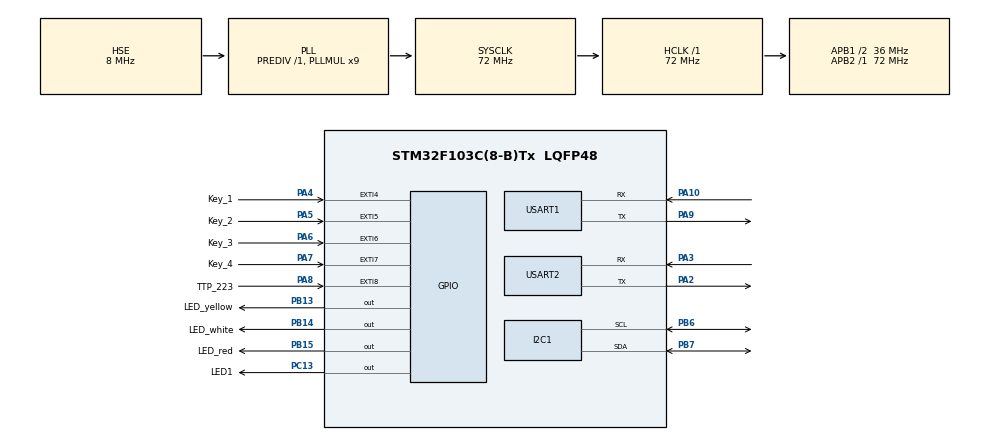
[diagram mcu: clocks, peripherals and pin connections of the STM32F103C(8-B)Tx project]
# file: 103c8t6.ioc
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I2C1.I2C_Mode=I2C_Fast
Mcu.Family=STM32F1
Mcu.Name=STM32F103C(8-B)Tx
Mcu.Package=LQFP48
NVIC.EXTI4_IRQn=true\:0\:0\:false\:false\:true\:true\:true\:true
NVIC.EXTI9_5_IRQn=true\:0\:0\:false\:false\:true\:true\:true\:true
NVIC.PriorityGroup=NVIC_PRIORITYGROUP_4
NVIC.TIM3_IRQn=true\:0\:0\:false\:false\:true\:true\:true\:true
NVIC.USART1_IRQn=true\:0\:0\:false\:false\:true\:true\:true\:true
NVIC.USART2_IRQn=true\:0\:0\:false\:false\:true\:true\:true\:true
PA10.Mode=Asynchronous
PA10.Signal=USART1_RX
PA13.Mode=Serial_Wire
PA13.Signal=SYS_JTMS-SWDIO
PA14.Mode=Serial_Wire
PA14.Signal=SYS_JTCK-SWCLK
PA2.Mode=Asynchronous
PA2.Signal=USART2_TX
PA3.Mode=Asynchronous
PA3.Signal=USART2_RX
PA4.GPIO_Label=Key_1
PA4.GPIO_PuPd=GPIO_PULLUP
PA4.Signal=GPXTI4
PA5.GPIO_Label=Key_2
PA5.GPIO_PuPd=GPIO_PULLUP
PA5.Signal=GPXTI5
PA6.GPIO_Label=Key_3
PA6.GPIO_PuPd=GPIO_PULLUP
PA6.Signal=GPXTI6
PA7.GPIO_Label=Key_4
PA7.GPIO_PuPd=GPIO_PULLUP
PA7.Signal=GPXTI7
PA8.GPIO_Label=TTP_223
PA8.Signal=GPXTI8
PA9.Mode=Asynchronous
PA9.Signal=USART1_TX
PB13.GPIO_Label=LED_yellow
PB13.GPIO_PuPd=GPIO_PULLUP
PB13.PinState=GPIO_PIN_SET
PB13.Signal=GPIO_Output
PB14.GPIO_Label=LED_white
PB14.GPIO_PuPd=GPIO_PULLUP
PB14.PinState=GPIO_PIN_SET
PB14.Signal=GPIO_Output
PB15.GPIO_Label=LED_red
PB15.GPIO_PuPd=GPIO_PULLUP
PB15.PinState=GPIO_PIN_SET
PB15.Signal=GPIO_Output
PB6.Mode=I2C
PB6.Signal=I2C1_SCL
PB7.Mode=I2C
PB7.Signal=I2C1_SDA
PC13-TAMPER-RTC.GPIO_Label=LED1
PC13-TAMPER-RTC.GPIO_PuPd=GPIO_PULLUP
PC13-TAMPER-RTC.PinState=GPIO_PIN_SET
PC13-TAMPER-RTC.Signal=GPIO_Output
PD0-OSC_IN.Mode=HSE-External-Oscillator
PD0-OSC_IN.Signal=RCC_OSC_IN
PD1-OSC_OUT.Mode=HSE-External-Oscillator
PD1-OSC_OUT.Signal=RCC_OSC_OUT
ProjectManager.HeapSize=0x200
ProjectManager.StackSize=0x400
ProjectManager.TargetToolchain=MDK-ARM V5.32
RCC.AHBFreq_Value=72000000
RCC.APB1CLKDivider=RCC_HCLK_DIV2
RCC.APB1Freq_Value=36000000
RCC.APB1TimFreq_Value=72000000
RCC.APB2Freq_Value=72000000
RCC.APB2TimFreq_Value=72000000
RCC.HCLKFreq_Value=72000000
RCC.PLLMUL=RCC_PLL_MUL9
RCC.PLLSourceVirtual=RCC_PLLSOURCE_HSE
RCC.SYSCLKFreq_VALUE=72000000
RCC.SYSCLKSource=RCC_SYSCLKSOURCE_PLLCLK
RCC.USBFreq_Value=72000000
TIM3.Period=5000-1
TIM3.Prescaler=7200-1
USART1.VirtualMode=VM_ASYNC
USART2.VirtualMode=VM_ASYNC
VP_TIM3_VS_ClockSourceINT.Mode=Internal
board=custom

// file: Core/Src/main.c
/* USER CODE BEGIN Header */
/**
  ******************************************************************************
  * @file           : main.c
  * @brief          : Main program body
  ******************************************************************************
  * @attention
  *
  * Copyright (c) 2024 STMicroelectronics.
  * All rights reserved.
  *
  * This software is licensed under terms that can be found in the LICENSE file
  * in the root directory of this software component.
  * If no LICENSE file comes with this software, it is provided AS-IS.
  *
  ******************************************************************************
  */
/* USER CODE END Header */
#include "main.h"
#include "i2c.h"
#include "tim.h"
#include "usart.h"
#include "gpio.h"

/* USER CODE BEGIN Includes */
#include "oled.h"
#include "string.h"
/* USER CODE END Includes */

void SystemClock_Config(void);
/* USER CODE BEGIN PFP */
int key_flag;

uint8_t data[2];

uint8_t RxBuff[1];      //进入中断接收数据的数组
uint8_t DataBuff[5000]; //保存接收到的数据的数组
int RxLine=0;           //接收到的数据长度
uint8_t trans[2] = {1,2};
/* USER CODE END PFP */

/* USER CODE BEGIN 0 */

void HAL_UART_RxCpltCallback(UART_HandleTypeDef *huart){
	if(data[0] == '0'){
		key_flag = 1;
	}
	if(data[0] == '1'){
		key_flag = 2;
	}
	if(data[0] == '2'){
		if(data[1] == '1'){
		key_flag = 3;
		}
		else if(data[1] == '2'){
		key_flag = 4;
		}
		else if(data[1] == '3'){
		key_flag = 5;
		}
	}
	if(data[0] == '3'){
		key_flag = 6;
	}
	HAL_UART_Receive_IT(&huart1,(uint8_t*)&data,sizeof(data));//打开下一次串口接收中断
}

void HAL_GPIO_EXTI_Callback(uint16_t GPIO_Pin){
	if(GPIO_Pin == Key_1_Pin){
		key_flag = 1;
		HAL_UART_Transmit_IT(&huart1,"1",sizeof("1"));
	}
	else if(GPIO_Pin == Key_2_Pin){

	}
	else if(GPIO_Pin == Key_3_Pin){
		HAL_UART_Transmit_IT(&huart1,"5",sizeof("5"));

	}
	else if(GPIO_Pin == Key_4_Pin){
	}
	else if(GPIO_Pin == TTP_223_Pin){
		HAL_UART_Transmit_IT(&huart1,"2",sizeof("2"));
	}
}
/* USER CODE END 0 */

int main(void)
{

  /* MCU Configuration--------------------------------------------------------*/

  /* Reset of all peripherals, Initializes the Flash interface and the Systick. */
  HAL_Init();

  /* Configure the system clock */
  SystemClock_Config();

  /* Initialize all configured peripherals */
  MX_GPIO_Init();
  MX_I2C1_Init();
  MX_TIM3_Init();
  MX_USART1_UART_Init();
  MX_USART2_UART_Init();
  /* USER CODE BEGIN 2 */
	oled_init();
	HAL_UART_Receive_IT(&huart1,(uint8_t*)data,sizeof(data));//打开下一次串口接收中断

  /* USER CODE END 2 */

  /* Infinite loop */
  while (1)
  {

    /* USER CODE BEGIN 3 */

//		if(HAL_GPIO_ReadPin(TTP_223_GPIO_Port,TTP_223_Pin)){
//			HAL_GPIO_WritePin(LED_red_GPIO_Port,LED_red_Pin,GPIO_PIN_RESET);

//		}
//		else{
//			HAL_GPIO_WritePin(LED_red_GPIO_Port,LED_red_Pin,GPIO_PIN_SET);

//		}

		switch(key_flag){
			case 1:
				oled_show_string(0,0,"mode 1",2);
				break;
			case 2:
				oled_show_string(0,0,"mode 2",2);
				break;
			//white
			case 3:
				oled_show_string(0,0,"mode 3",2);
				HAL_GPIO_WritePin(LED_yellow_GPIO_Port,LED_yellow_Pin,GPIO_PIN_RESET);
				HAL_GPIO_WritePin(LED_white_GPIO_Port,LED_white_Pin,GPIO_PIN_SET);
				break;
			//yellow
			case 4:
				oled_show_string(0,0,"mode 3",2);
				HAL_GPIO_WritePin(LED_yellow_GPIO_Port,LED_yellow_Pin,GPIO_PIN_SET);
				HAL_GPIO_WritePin(LED_white_GPIO_Port,LED_white_Pin,GPIO_PIN_RESET);
				break;
			//shanshuo
			case 5:
				oled_show_string(0,0,"mode 3",2);
				HAL_GPIO_WritePin(LED_yellow_GPIO_Port,LED_yellow_Pin,GPIO_PIN_SET);
				HAL_GPIO_WritePin(LED_white_GPIO_Port,LED_white_Pin,GPIO_PIN_RESET);
				HAL_Delay(400);
				HAL_GPIO_WritePin(LED_yellow_GPIO_Port,LED_yellow_Pin,GPIO_PIN_RESET);
				HAL_GPIO_WritePin(LED_white_GPIO_Port,LED_white_Pin,GPIO_PIN_SET);
				HAL_Delay(400);
				break;
			case 6:
				oled_show_string(0,0,"mode 4",2);
				break;
		}
		oled_show_string(0,5,(char*)data,2);

  }
  /* USER CODE END 3 */
}

void SystemClock_Config(void)
{
  RCC_OscInitTypeDef RCC_OscInitStruct = {0};
  RCC_ClkInitTypeDef RCC_ClkInitStruct = {0};

  /** Initializes the RCC Oscillators according to the specified parameters
  * in the RCC_OscInitTypeDef structure.
  */
  RCC_OscInitStruct.OscillatorType = RCC_OSCILLATORTYPE_HSE;
  RCC_OscInitStruct.HSEState = RCC_HSE_ON;
  RCC_OscInitStruct.HSEPredivValue = RCC_HSE_PREDIV_DIV1;
  RCC_OscInitStruct.HSIState = RCC_HSI_ON;
  RCC_OscInitStruct.PLL.PLLState = RCC_PLL_ON;
  RCC_OscInitStruct.PLL.PLLSource = RCC_PLLSOURCE_HSE;
  RCC_OscInitStruct.PLL.PLLMUL = RCC_PLL_MUL9;
  if (HAL_RCC_OscConfig(&RCC_OscInitStruct) != HAL_OK)
  {
    Error_Handler();
  }
  /** Initializes the CPU, AHB and APB buses clocks
  */
  RCC_ClkInitStruct.ClockType = RCC_CLOCKTYPE_HCLK|RCC_CLOCKTYPE_SYSCLK
                              |RCC_CLOCKTYPE_PCLK1|RCC_CLOCKTYPE_PCLK2;
  RCC_ClkInitStruct.SYSCLKSource = RCC_SYSCLKSOURCE_PLLCLK;
  RCC_ClkInitStruct.AHBCLKDivider = RCC_SYSCLK_DIV1;
  RCC_ClkInitStruct.APB1CLKDivider = RCC_HCLK_DIV2;
  RCC_ClkInitStruct.APB2CLKDivider = RCC_HCLK_DIV1;

  if (HAL_RCC_ClockConfig(&RCC_ClkInitStruct, FLASH_LATENCY_2) != HAL_OK)
  {
    Error_Handler();
  }
}

void Error_Handler(void)
{
  __disable_irq();
  while (1)
  {
  }
}
